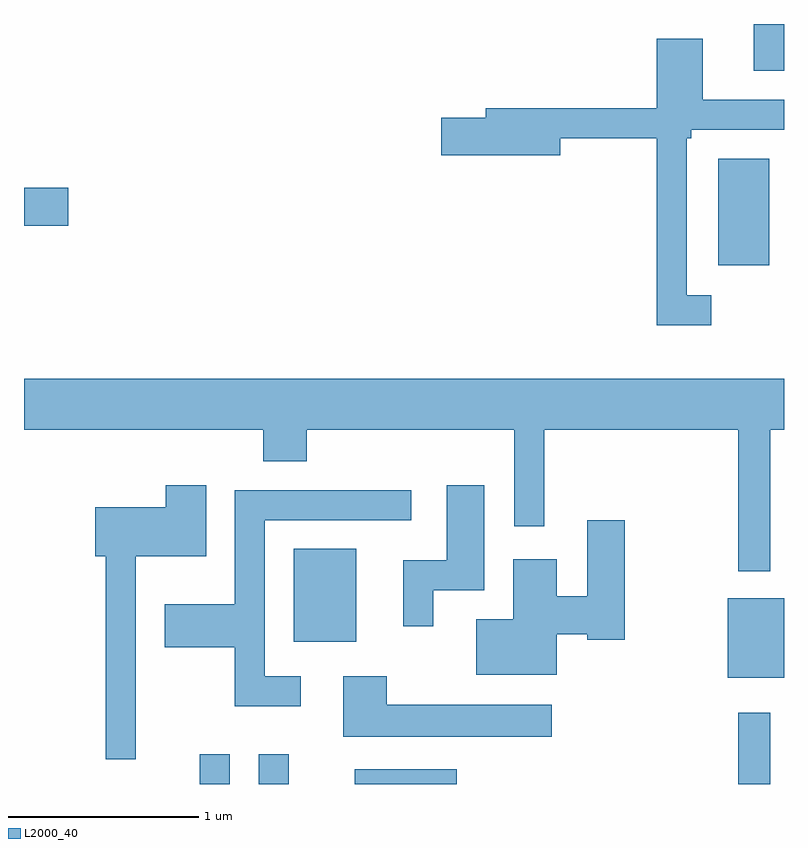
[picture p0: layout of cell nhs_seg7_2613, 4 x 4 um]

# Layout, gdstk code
import gdstk
lib = gdstk.Library(unit=1e-6, precision=1e-09)
def R(c, l, rs):  # rectangles x0, y0, x1, y1
    for r in rs: c.add(gdstk.rectangle(r[:2], r[2:], *l))
def P(c, l, *ps):  # polygons
    for p in ps: c.add(gdstk.Polygon(p, *l))
L2000_40 = (2000, 40)

nhs_seg7_2613 = lib.new_cell('nhs_seg7_2613')
R(nhs_seg7_2613, L2000_40, [(266.536,1690.252,266.694,1690.408), (266.846,1690.252,267.004,1690.408), (267.351,1690.252,267.889,1690.329), (269.371,1690.252,269.539,1690.628), (269.316,1690.811,269.611,1691.229), (267.031,1691.001,267.359,1691.489), (269.266,1692.981,269.534,1693.544), (265.611,1693.191,265.844,1693.389), (269.451,1694.006,269.611,1694.252)])
P(nhs_seg7_2613, L2000_40, [(269.228,1692.824),(269.099,1692.824),(269.099,1693.651),(269.124,1693.651),(269.124,1693.696),(269.611,1693.696),(269.611,1693.854),(269.184,1693.854),(269.184,1694.174),(268.941,1694.174),(268.941,1693.809),(268.041,1693.809),(268.041,1693.759),(267.806,1693.759),(267.806,1693.561),(268.434,1693.561),(268.434,1693.651),(268.941,1693.651),(268.941,1692.666),(269.228,1692.666)],
  [(269.539,1692.116),(269.611,1692.116),(269.611,1692.384),(265.611,1692.384),(265.611,1692.116),(266.871,1692.116),(266.871,1691.951),(267.099,1691.951),(267.099,1692.116),(268.191,1692.116),(268.191,1691.608),(268.349,1691.608),(268.349,1692.116),(269.371,1692.116),(269.371,1691.373),(269.539,1691.373)],
  [(266.199,1691.451),(266.569,1691.451),(266.569,1691.824),(266.356,1691.824),(266.356,1691.709),(265.986,1691.709),(265.986,1691.451),(266.041,1691.451),(266.041,1690.383),(266.199,1690.383)],
  [(267.764,1691.271),(268.034,1691.271),(268.034,1691.824),(267.836,1691.824),(267.836,1691.429),(267.606,1691.429),(267.606,1691.083),(267.764,1691.083)],
  [(267.068,1690.819),(266.879,1690.819),(266.879,1691.641),(267.648,1691.641),(267.648,1691.799),(266.721,1691.799),(266.721,1691.199),(266.351,1691.199),(266.351,1690.971),(266.721,1690.971),(266.721,1690.661),(267.068,1690.661)],
  [(268.414,1691.041),(268.576,1691.041),(268.576,1691.011),(268.774,1691.011),(268.774,1691.639),(268.576,1691.639),(268.576,1691.239),(268.414,1691.239),(268.414,1691.434),(268.186,1691.434),(268.186,1691.119),(267.991,1691.119),(267.991,1690.826),(268.414,1690.826)],
  [(268.388,1690.669),(267.519,1690.669),(267.519,1690.819),(267.291,1690.819),(267.291,1690.501),(268.388,1690.501)])

lib.write_gds('nhs_seg7_2613.gds')
